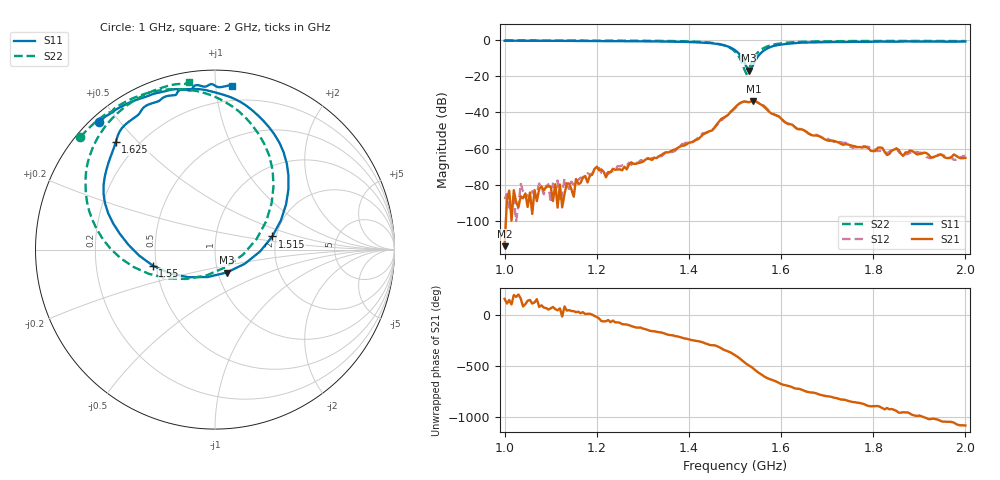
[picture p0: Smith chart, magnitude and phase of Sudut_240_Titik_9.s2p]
# Hz S RI R 50
! CMT, C1220, 16058040, 17.2.0/1
! Date: 14/08/2018 11:58:09
! Data: Format (Calibration Info)
! Freq  S11: Re/Im (F2)  S21: Re/Im (F2)  S12: Re/Im (F2)  S22: Re/Im (F2)
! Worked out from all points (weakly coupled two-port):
!   201 points, 1 GHz to 2 GHz, reference 50 ohm
!   highest |S21| = -33.79 dB at 1.54 GHz (marker M1); lowest = -113.9 dB at 1 GHz (marker M2)
!   lowest |S11| = -16.9 dB at 1.53 GHz (marker M3), VSWR 1.34, Z = 55.1 - j14.4 ohm
!   |S11| at or under -10 dB: 1.516 GHz to 1.547 GHz (31.63 MHz wide, 2.07 % of centre)
!   |S22| runs from -18.8 to -0.2 dB; largest |S21 - S12| = 0.00092
!   S11 on the Smith chart (normalised r, x): 1 GHz: 0.02, +0.44; 1.515 GHz: 1.91, +0.31; 1.55 GHz: 0.48, -0.10; 1.625 GHz: 0.12, +0.43; 2 GHz: 0.10, +1.10
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1e9  -0.6446 0.7122  -1.87e-06 7.33e-07  -2.47e-05 3.19e-05  -0.75 0.627
1.13e9  -0.5114 0.8016  5.67e-06 5.52e-05  8.77e-05 0.000117  -0.6512 0.7232
1.15e9  -0.4936 0.811  3.71e-05 2.87e-05  8.77e-05 4.82e-05  -0.6326 0.7376
1.17e9  -0.4719 0.8211  0.000143 7.51e-05  0.000146 4.64e-05  -0.6123 0.7521
1.18e9  -0.4551 0.8279  0.000113 2.48e-05  0.000208 -5.6e-06  -0.6011 0.7584
1.2e9  -0.4292 0.8369  0.000299 -0.000102  0.000264 -0.000106  -0.5784 0.7655
1.22e9  -0.4096 0.8436  8.04e-05 -0.00014  0.00011 -0.000178  -0.5674 0.7791
1.335e9  -0.2144 0.8936  -0.000606 -0.000131  -0.00061 -8.78e-05  -0.3956 0.866
1.45e9  0.1826 0.7959  0.00133 0.00285  0.00152 0.00287  0.0269 0.8384
1.5e9  0.409 0.3356  0.0117 -0.00696  0.011 -0.00657  0.326 0.3541
1.515e9  0.3195 0.0735  0.0026 -0.019  0.00312 -0.019  0.2322 0.0599
1.525e9  0.1651 -0.0794  -0.00932 -0.0172  -0.00926 -0.0174  0.0605 -0.0974
1.53e9  0.0656 -0.1277  -0.0128 -0.0143  -0.0129 -0.0144  -0.0472 -0.1438
1.54e9  -0.1483 -0.1541  -0.0196 -0.00591  -0.0193 -0.00599  -0.2703 -0.1597
1.55e9  -0.346 -0.0896  -0.0174 0.00636  -0.0178 0.00567  -0.4539 -0.097
1.58e9  -0.613 0.2589  0.000543 0.0092  0.000925 0.00953  -0.7011 0.2155
1.625e9  -0.5526 0.5984  0.00443 0.000957  0.0042 0.00105  -0.698 0.5224
1.67e9  -0.4408 0.7409  0.0018 -0.00145  0.00191 -0.00154  -0.6204 0.6743
1.835e9  -0.1459 0.8867  -0.000666 0.000263  -0.000761 0.00029  -0.3702 0.8733
1.85e9  -0.1294 0.8918  -0.000815 0.000598  -0.000694 0.000742  -0.35 0.8824
1.865e9  -0.1161 0.9112  -0.000403 0.000482  -0.000371 0.000573  -0.3289 0.8902
2e9  0.0935 0.9122  0.000555 3.67e-06  0.000634 -2.4e-05  -0.1469 0.9312
